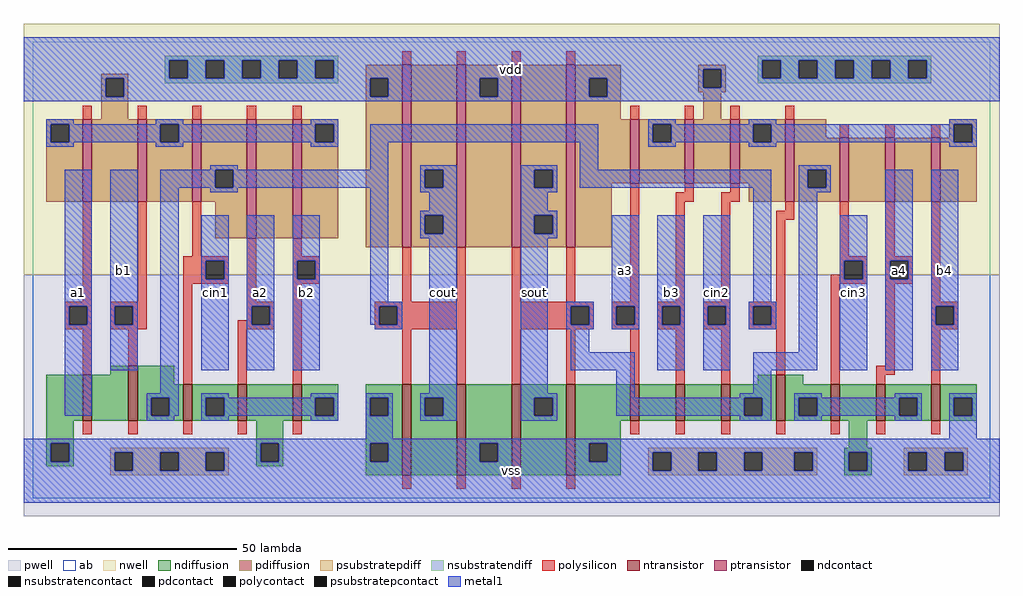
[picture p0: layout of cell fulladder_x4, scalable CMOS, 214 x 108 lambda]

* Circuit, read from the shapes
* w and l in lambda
.subckt fulladder_x4 a1 a2 a3 a4 b1 b2 b3 b4 cin1 cin2 cin3 cout sout vdd vss
M1 n1 a1 vss vss nfet w=10 l=2
M2 n2 b1 n1 vss nfet w=12 l=2
M3 n3 cin1 n2 vss nfet w=8 l=2
M4 vss a2 n3 vss nfet w=8 l=2
M5 n3 b2 vss vss nfet w=8 l=2
M6 cout n2 vss vss nfet w=20 l=2 m=2
M7 sout n4 vss vss nfet w=20 l=2 m=2
M8 n5 a3 vss vss nfet w=8 l=2
M9 n6 b3 n5 vss nfet w=8 l=2
M10 n4 cin2 n6 vss nfet w=8 l=2
M11 n7 n2 n4 vss nfet w=10 l=2
M12 vss cin3 n7 vss nfet w=8 l=2
M13 n7 a4 vss vss nfet w=8 l=2
M14 vss b4 n7 vss nfet w=8 l=2
M15 vdd a1 n8 vdd pfet w=18 l=2
M16 n8 b1 vdd vdd pfet w=18 l=2
M17 n2 cin1 n8 vdd pfet w=18 l=2
M18 n9 a2 n2 vdd pfet w=26 l=2
M19 n8 b2 n9 vdd pfet w=26 l=2
M20 cout n2 vdd vdd pfet w=40 l=2 m=2
M21 sout n4 vdd vdd pfet w=40 l=2 m=2
M22 n10 a3 vdd vdd pfet w=14 l=2
M23 vdd b3 n10 vdd pfet w=14 l=2
M24 n10 cin2 vdd vdd pfet w=14 l=2
M25 n4 n2 n10 vdd pfet w=18 l=2
M26 n11 cin3 n4 vdd pfet w=14 l=2
M27 n12 a4 n11 vdd pfet w=14 l=2
M28 n10 b4 n12 vdd pfet w=14 l=2
.ends

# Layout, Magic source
magic
tech scmos
<< ab >>
rect 0 0 210 100
<< pwell >>
rect -2 -4 212 49
<< nwell >>
rect -2 49 212 104
<< polysilicon >>
rect 81 95 83 98
rect 93 95 95 98
rect 105 95 107 98
rect 117 95 119 98
rect 11 83 13 86
rect 23 83 25 86
rect 35 83 37 86
rect 47 83 49 86
rect 57 83 59 86
rect 11 43 13 65
rect 23 43 25 65
rect 35 53 37 65
rect 7 42 13 43
rect 7 38 8 42
rect 12 38 13 42
rect 7 37 13 38
rect 17 42 25 43
rect 17 38 18 42
rect 22 38 25 42
rect 17 37 25 38
rect 33 52 43 53
rect 33 48 38 52
rect 42 48 43 52
rect 33 47 43 48
rect 11 27 13 37
rect 21 29 23 37
rect 33 25 35 47
rect 47 43 49 57
rect 57 53 59 57
rect 131 83 133 86
rect 143 83 145 86
rect 153 83 155 86
rect 165 83 167 86
rect 57 52 63 53
rect 57 48 58 52
rect 62 48 63 52
rect 57 47 63 48
rect 47 42 53 43
rect 47 39 48 42
rect 45 38 48 39
rect 52 38 53 42
rect 45 37 53 38
rect 45 25 47 37
rect 57 25 59 47
rect 81 43 83 55
rect 93 43 95 55
rect 75 42 95 43
rect 75 38 76 42
rect 80 38 95 42
rect 75 37 95 38
rect 81 25 83 37
rect 93 25 95 37
rect 105 43 107 55
rect 117 43 119 55
rect 131 43 133 69
rect 143 67 145 69
rect 153 67 155 69
rect 141 65 145 67
rect 151 65 155 67
rect 177 79 179 82
rect 187 79 189 82
rect 197 79 199 82
rect 141 43 143 65
rect 151 43 153 65
rect 165 63 167 65
rect 163 61 167 63
rect 163 43 165 61
rect 177 53 179 65
rect 187 53 189 65
rect 177 52 183 53
rect 177 49 178 52
rect 105 42 123 43
rect 105 38 118 42
rect 122 38 123 42
rect 105 37 123 38
rect 127 42 133 43
rect 127 38 128 42
rect 132 38 133 42
rect 127 37 133 38
rect 137 42 143 43
rect 137 38 138 42
rect 142 38 143 42
rect 137 37 143 38
rect 147 42 153 43
rect 147 38 148 42
rect 152 38 153 42
rect 147 37 153 38
rect 157 42 165 43
rect 157 38 158 42
rect 162 38 165 42
rect 157 37 165 38
rect 105 25 107 37
rect 117 25 119 37
rect 131 25 133 37
rect 141 25 143 37
rect 151 25 153 37
rect 163 27 165 37
rect 175 48 178 49
rect 182 48 183 52
rect 175 47 183 48
rect 187 52 193 53
rect 187 48 188 52
rect 192 48 193 52
rect 187 47 193 48
rect 11 14 13 17
rect 21 14 23 17
rect 33 14 35 17
rect 45 14 47 17
rect 57 14 59 17
rect 175 25 177 47
rect 187 29 189 47
rect 185 27 189 29
rect 197 43 199 65
rect 197 42 203 43
rect 197 38 198 42
rect 202 38 203 42
rect 197 37 203 38
rect 185 25 187 27
rect 197 25 199 37
rect 131 14 133 17
rect 141 14 143 17
rect 151 14 153 17
rect 163 14 165 17
rect 175 14 177 17
rect 185 14 187 17
rect 197 14 199 17
rect 81 2 83 5
rect 93 2 95 5
rect 105 2 107 5
rect 117 2 119 5
<< ndiffusion >>
rect 17 27 21 29
rect 3 17 11 27
rect 13 17 21 27
rect 23 25 31 29
rect 159 25 163 27
rect 23 22 33 25
rect 23 18 26 22
rect 30 18 33 22
rect 23 17 33 18
rect 35 22 45 25
rect 35 18 38 22
rect 42 18 45 22
rect 35 17 45 18
rect 47 17 57 25
rect 59 22 67 25
rect 59 18 62 22
rect 66 18 67 22
rect 59 17 67 18
rect 73 22 81 25
rect 73 18 74 22
rect 78 18 81 22
rect 3 12 9 17
rect 3 8 4 12
rect 8 8 9 12
rect 49 12 55 17
rect 3 7 9 8
rect 49 8 50 12
rect 54 8 55 12
rect 49 7 55 8
rect 73 12 81 18
rect 73 8 74 12
rect 78 8 81 12
rect 73 5 81 8
rect 83 22 93 25
rect 83 18 86 22
rect 90 18 93 22
rect 83 5 93 18
rect 95 12 105 25
rect 95 8 98 12
rect 102 8 105 12
rect 95 5 105 8
rect 107 22 117 25
rect 107 18 110 22
rect 114 18 117 22
rect 107 5 117 18
rect 119 17 131 25
rect 133 17 141 25
rect 143 17 151 25
rect 153 22 163 25
rect 153 18 156 22
rect 160 18 163 22
rect 153 17 163 18
rect 165 25 169 27
rect 165 22 175 25
rect 165 18 168 22
rect 172 18 175 22
rect 165 17 175 18
rect 177 17 185 25
rect 187 22 197 25
rect 187 18 190 22
rect 194 18 197 22
rect 187 17 197 18
rect 199 22 207 25
rect 199 18 202 22
rect 206 18 207 22
rect 199 17 207 18
rect 119 12 129 17
rect 119 8 122 12
rect 126 8 129 12
rect 179 11 183 17
rect 119 5 129 8
rect 178 10 184 11
rect 178 6 179 10
rect 183 6 184 10
rect 178 5 184 6
<< pdiffusion >>
rect 15 92 21 93
rect 15 88 16 92
rect 20 88 21 92
rect 73 92 81 95
rect 15 83 21 88
rect 73 88 74 92
rect 78 88 81 92
rect 3 82 11 83
rect 3 78 4 82
rect 8 78 11 82
rect 3 65 11 78
rect 13 65 23 83
rect 25 82 35 83
rect 25 78 28 82
rect 32 78 35 82
rect 25 65 35 78
rect 37 72 47 83
rect 37 68 40 72
rect 44 68 47 72
rect 37 65 47 68
rect 40 57 47 65
rect 49 57 57 83
rect 59 82 67 83
rect 59 78 62 82
rect 66 78 67 82
rect 59 57 67 78
rect 73 55 81 88
rect 83 72 93 95
rect 83 68 86 72
rect 90 68 93 72
rect 83 62 93 68
rect 83 58 86 62
rect 90 58 93 62
rect 83 55 93 58
rect 95 92 105 95
rect 95 88 98 92
rect 102 88 105 92
rect 95 55 105 88
rect 107 72 117 95
rect 107 68 110 72
rect 114 68 117 72
rect 107 62 117 68
rect 107 58 110 62
rect 114 58 117 62
rect 107 55 117 58
rect 119 92 129 95
rect 119 88 122 92
rect 126 88 129 92
rect 146 94 152 95
rect 146 90 147 94
rect 151 90 152 94
rect 146 89 152 90
rect 119 83 129 88
rect 147 83 151 89
rect 119 69 131 83
rect 133 82 143 83
rect 133 78 136 82
rect 140 78 143 82
rect 133 69 143 78
rect 145 69 153 83
rect 155 82 165 83
rect 155 78 158 82
rect 162 78 165 82
rect 155 69 165 78
rect 119 55 127 69
rect 157 65 165 69
rect 167 79 174 83
rect 201 82 207 83
rect 201 79 202 82
rect 167 72 177 79
rect 167 68 170 72
rect 174 68 177 72
rect 167 65 177 68
rect 179 65 187 79
rect 189 65 197 79
rect 199 78 202 79
rect 206 78 207 82
rect 199 65 207 78
<< metal1 >>
rect -2 96 212 101
rect -2 92 30 96
rect 34 92 38 96
rect 42 92 46 96
rect 50 92 54 96
rect 58 92 62 96
rect 66 94 160 96
rect 66 92 147 94
rect -2 88 16 92
rect 20 88 74 92
rect 78 88 98 92
rect 102 88 122 92
rect 126 90 147 92
rect 151 92 160 94
rect 164 92 168 96
rect 172 92 176 96
rect 180 92 184 96
rect 188 92 192 96
rect 196 92 212 96
rect 151 90 212 92
rect 126 88 212 90
rect -2 87 212 88
rect 3 82 9 83
rect 27 82 33 83
rect 61 82 67 83
rect 135 82 141 83
rect 157 82 163 83
rect 201 82 207 83
rect 3 78 4 82
rect 8 78 28 82
rect 32 78 62 82
rect 66 78 67 82
rect 3 77 9 78
rect 27 77 33 78
rect 61 77 67 78
rect 74 78 124 82
rect 39 72 45 73
rect 74 72 78 78
rect 7 42 13 72
rect 7 38 8 42
rect 12 38 13 42
rect 7 18 13 38
rect 17 42 23 72
rect 17 38 18 42
rect 22 38 23 42
rect 17 28 23 38
rect 28 68 40 72
rect 44 68 78 72
rect 28 23 32 68
rect 39 67 45 68
rect 37 52 43 62
rect 37 48 38 52
rect 42 48 43 52
rect 37 28 43 48
rect 47 42 53 62
rect 47 38 48 42
rect 52 38 53 42
rect 47 28 53 38
rect 57 52 63 62
rect 57 48 58 52
rect 62 48 63 52
rect 57 28 63 48
rect 74 43 78 68
rect 85 72 93 73
rect 85 68 86 72
rect 90 68 93 72
rect 85 67 93 68
rect 87 63 93 67
rect 85 62 93 63
rect 85 58 86 62
rect 90 58 93 62
rect 85 57 93 58
rect 74 42 81 43
rect 74 38 76 42
rect 80 38 81 42
rect 75 37 81 38
rect 87 23 93 57
rect 25 22 32 23
rect 25 18 26 22
rect 30 18 32 22
rect 37 22 43 23
rect 61 22 67 23
rect 37 18 38 22
rect 42 18 62 22
rect 66 18 67 22
rect 25 17 31 18
rect 37 17 43 18
rect 61 17 67 18
rect 73 22 79 23
rect 73 18 74 22
rect 78 18 79 22
rect 73 13 79 18
rect 85 22 93 23
rect 85 18 86 22
rect 90 18 93 22
rect 85 17 93 18
rect 107 72 115 73
rect 107 68 110 72
rect 114 68 115 72
rect 120 72 124 78
rect 135 78 136 82
rect 140 78 158 82
rect 162 78 202 82
rect 206 78 207 82
rect 135 77 141 78
rect 157 77 163 78
rect 201 77 207 78
rect 168 72 175 73
rect 120 68 162 72
rect 107 67 115 68
rect 107 63 113 67
rect 107 62 115 63
rect 107 58 110 62
rect 114 58 115 62
rect 107 57 115 58
rect 107 23 113 57
rect 117 42 123 43
rect 117 38 118 42
rect 122 38 123 42
rect 117 37 123 38
rect 127 42 133 62
rect 127 38 128 42
rect 132 38 133 42
rect 127 37 133 38
rect 137 42 143 62
rect 137 38 138 42
rect 142 38 143 42
rect 118 32 122 37
rect 118 28 132 32
rect 137 28 143 38
rect 147 42 153 62
rect 158 43 162 68
rect 168 68 170 72
rect 174 68 175 72
rect 168 67 175 68
rect 147 38 148 42
rect 152 38 153 42
rect 147 28 153 38
rect 157 42 163 43
rect 157 38 158 42
rect 162 38 163 42
rect 157 37 163 38
rect 168 32 172 67
rect 158 28 172 32
rect 177 52 183 62
rect 177 48 178 52
rect 182 48 183 52
rect 177 28 183 48
rect 187 52 193 72
rect 187 48 188 52
rect 192 48 193 52
rect 187 28 193 48
rect 197 42 203 72
rect 197 38 198 42
rect 202 38 203 42
rect 197 28 203 38
rect 107 22 115 23
rect 107 18 110 22
rect 114 18 115 22
rect 128 22 132 28
rect 158 23 162 28
rect 155 22 162 23
rect 128 18 156 22
rect 160 18 162 22
rect 107 17 115 18
rect 155 17 162 18
rect 167 22 173 23
rect 189 22 195 23
rect 167 18 168 22
rect 172 18 190 22
rect 194 18 195 22
rect 167 17 173 18
rect 189 17 195 18
rect 201 22 207 23
rect 201 18 202 22
rect 206 18 207 22
rect 201 13 207 18
rect -2 12 212 13
rect -2 8 4 12
rect 8 10 50 12
rect 8 8 18 10
rect -2 6 18 8
rect 22 6 28 10
rect 32 6 38 10
rect 42 8 50 10
rect 54 8 74 12
rect 78 8 98 12
rect 102 8 122 12
rect 126 10 212 12
rect 126 8 136 10
rect 42 6 136 8
rect 140 6 146 10
rect 150 6 156 10
rect 160 6 167 10
rect 171 6 179 10
rect 183 6 192 10
rect 196 6 200 10
rect 204 6 212 10
rect -2 -1 212 6
<< ntransistor >>
rect 11 17 13 27
rect 21 17 23 29
rect 33 17 35 25
rect 45 17 47 25
rect 57 17 59 25
rect 81 5 83 25
rect 93 5 95 25
rect 105 5 107 25
rect 117 5 119 25
rect 131 17 133 25
rect 141 17 143 25
rect 151 17 153 25
rect 163 17 165 27
rect 175 17 177 25
rect 185 17 187 25
rect 197 17 199 25
<< ptransistor >>
rect 11 65 13 83
rect 23 65 25 83
rect 35 65 37 83
rect 47 57 49 83
rect 57 57 59 83
rect 81 55 83 95
rect 93 55 95 95
rect 105 55 107 95
rect 117 55 119 95
rect 131 69 133 83
rect 143 69 145 83
rect 153 69 155 83
rect 165 65 167 83
rect 177 65 179 79
rect 187 65 189 79
rect 197 65 199 79
<< polycontact >>
rect 8 38 12 42
rect 18 38 22 42
rect 38 48 42 52
rect 58 48 62 52
rect 48 38 52 42
rect 76 38 80 42
rect 118 38 122 42
rect 128 38 132 42
rect 138 38 142 42
rect 148 38 152 42
rect 158 38 162 42
rect 178 48 182 52
rect 188 48 192 52
rect 198 38 202 42
<< ndcontact >>
rect 26 18 30 22
rect 38 18 42 22
rect 62 18 66 22
rect 74 18 78 22
rect 4 8 8 12
rect 50 8 54 12
rect 74 8 78 12
rect 86 18 90 22
rect 98 8 102 12
rect 110 18 114 22
rect 156 18 160 22
rect 168 18 172 22
rect 190 18 194 22
rect 202 18 206 22
rect 122 8 126 12
rect 179 6 183 10
<< pdcontact >>
rect 16 88 20 92
rect 74 88 78 92
rect 4 78 8 82
rect 28 78 32 82
rect 40 68 44 72
rect 62 78 66 82
rect 86 68 90 72
rect 86 58 90 62
rect 98 88 102 92
rect 110 68 114 72
rect 110 58 114 62
rect 122 88 126 92
rect 147 90 151 94
rect 136 78 140 82
rect 158 78 162 82
rect 170 68 174 72
rect 202 78 206 82
<< psubstratepcontact >>
rect 18 6 22 10
rect 28 6 32 10
rect 38 6 42 10
rect 136 6 140 10
rect 146 6 150 10
rect 156 6 160 10
rect 167 6 171 10
rect 192 6 196 10
rect 200 6 204 10
<< nsubstratencontact >>
rect 30 92 34 96
rect 38 92 42 96
rect 46 92 50 96
rect 54 92 58 96
rect 62 92 66 96
rect 160 92 164 96
rect 168 92 172 96
rect 176 92 180 96
rect 184 92 188 96
rect 192 92 196 96
<< psubstratepdiff >>
rect 17 10 43 11
rect 17 6 18 10
rect 22 6 28 10
rect 32 6 38 10
rect 42 6 43 10
rect 17 5 43 6
rect 135 10 172 11
rect 135 6 136 10
rect 140 6 146 10
rect 150 6 156 10
rect 160 6 167 10
rect 171 6 172 10
rect 135 5 172 6
rect 191 10 205 11
rect 191 6 192 10
rect 196 6 200 10
rect 204 6 205 10
rect 191 5 205 6
<< nsubstratendiff >>
rect 29 96 67 97
rect 29 92 30 96
rect 34 92 38 96
rect 42 92 46 96
rect 50 92 54 96
rect 58 92 62 96
rect 66 92 67 96
rect 159 96 197 97
rect 29 91 67 92
rect 159 92 160 96
rect 164 92 168 96
rect 172 92 176 96
rect 180 92 184 96
rect 188 92 192 96
rect 196 92 197 96
rect 159 91 197 92
<< labels >>
rlabel metal1 10 45 10 45 6 a1
rlabel metal1 20 50 20 50 6 b1
rlabel metal1 20 50 20 50 6 b1
rlabel metal1 10 45 10 45 6 a1
rlabel metal1 40 45 40 45 6 cin1
rlabel metal1 40 45 40 45 6 cin1
rlabel metal1 60 45 60 45 6 b2
rlabel metal1 50 45 50 45 6 a2
rlabel metal1 50 45 50 45 6 a2
rlabel metal1 60 45 60 45 6 b2
rlabel metal1 105 6 105 6 6 vss
rlabel metal1 105 6 105 6 6 vss
rlabel metal1 110 45 110 45 6 sout
rlabel metal1 90 45 90 45 6 cout
rlabel metal1 110 45 110 45 6 sout
rlabel metal1 90 45 90 45 6 cout
rlabel metal1 105 94 105 94 6 vdd
rlabel metal1 105 94 105 94 6 vdd
rlabel metal1 140 45 140 45 6 b3
rlabel metal1 150 45 150 45 6 cin2
rlabel metal1 130 50 130 50 6 a3
rlabel metal1 150 45 150 45 6 cin2
rlabel metal1 140 45 140 45 6 b3
rlabel metal1 130 50 130 50 6 a3
rlabel metal1 200 50 200 50 6 b4
rlabel polycontact 190 50 190 50 6 a4
rlabel metal1 180 45 180 45 6 cin3
rlabel polycontact 190 50 190 50 6 a4
rlabel metal1 200 50 200 50 6 b4
rlabel metal1 180 45 180 45 6 cin3
<< end >>
